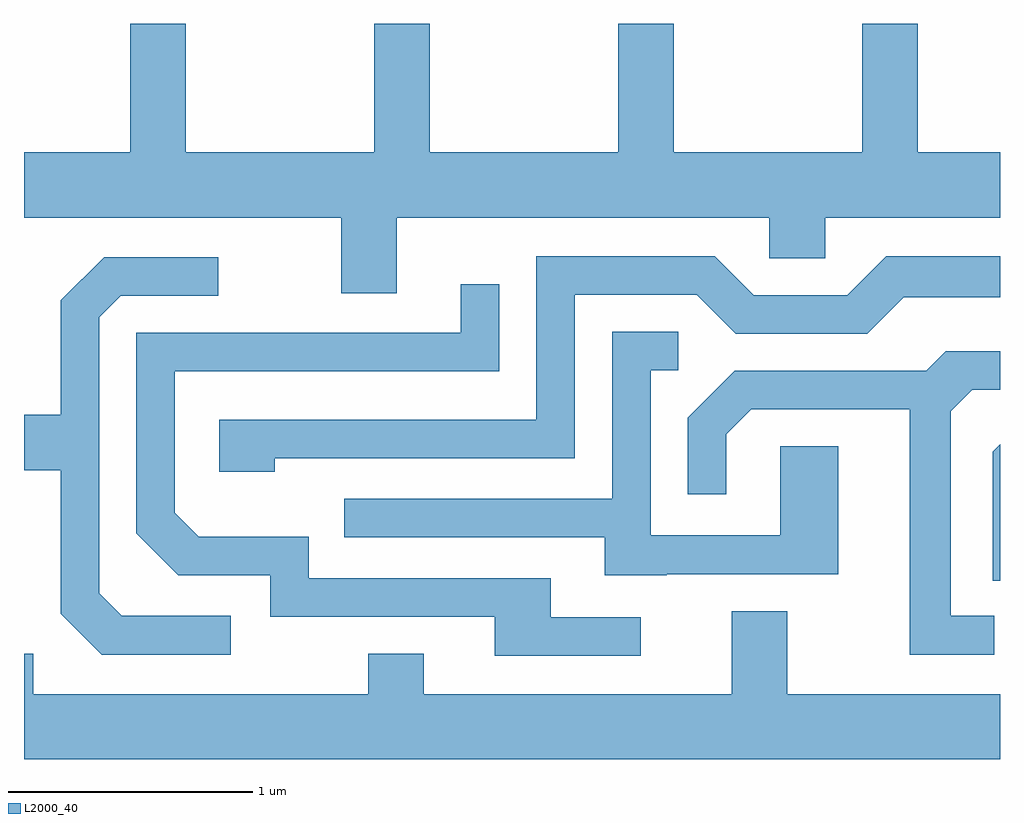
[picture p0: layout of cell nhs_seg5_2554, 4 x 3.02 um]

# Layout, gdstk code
import gdstk
lib = gdstk.Library(unit=1e-6, precision=1e-09)
def P(c, l, *ps):  # polygons
    for p in ps: c.add(gdstk.Polygon(p, *l))
L2000_40 = (2000, 40)

nhs_seg5_2554 = lib.new_cell('nhs_seg5_2554')
P(nhs_seg5_2554, L2000_40, [(263.139,1421.276),(264.666,1421.276),(264.666,1421.111),(264.894,1421.111),(264.894,1421.276),(265.611,1421.276),(265.611,1421.544),(265.274,1421.544),(265.274,1422.072),(265.046,1422.072),(265.046,1421.544),(264.274,1421.544),(264.274,1422.072),(264.046,1422.072),(264.046,1421.544),(263.274,1421.544),(263.274,1422.072),(263.046,1422.072),(263.046,1421.544),(262.274,1421.544),(262.274,1422.072),(262.046,1422.072),(262.046,1421.544),(261.611,1421.544),(261.611,1421.276),(262.911,1421.276),(262.911,1420.966),(263.139,1420.966)],
  [(262.639,1420.291),(263.869,1420.291),(263.869,1420.961),(264.369,1420.961),(264.529,1420.801),(265.067,1420.801),(265.217,1420.951),(265.611,1420.951),(265.611,1421.119),(265.144,1421.119),(264.984,1420.959),(264.602,1420.959),(264.442,1421.119),(263.711,1421.119),(263.711,1420.449),(262.411,1420.449),(262.411,1420.236),(262.639,1420.236)],
  [(262.458,1419.644),(262.012,1419.644),(261.919,1419.737),(261.919,1420.869),(262.007,1420.956),(262.408,1420.956),(262.408,1421.114),(261.939,1421.114),(261.761,1420.937),(261.761,1420.469),(261.611,1420.469),(261.611,1420.241),(261.761,1420.241),(261.761,1419.654),(261.929,1419.486),(262.458,1419.486)],
  [(264.138,1419.639),(263.769,1419.639),(263.769,1419.799),(262.779,1419.799),(262.779,1419.969),(262.327,1419.969),(262.229,1420.067),(262.229,1420.646),(263.559,1420.646),(263.559,1421.003),(263.401,1421.003),(263.401,1420.804),(262.071,1420.804),(262.071,1419.984),(262.244,1419.811),(262.621,1419.811),(262.621,1419.641),(263.541,1419.641),(263.541,1419.481),(264.138,1419.481)],
  [(264.245,1419.816),(264.949,1419.816),(264.949,1420.339),(264.711,1420.339),(264.711,1419.974),(264.179,1419.974),(264.179,1420.651),(264.293,1420.651),(264.293,1420.809),(264.021,1420.809),(264.021,1420.124),(262.923,1420.124),(262.923,1419.966),(263.991,1419.966),(263.991,1419.811),(264.245,1419.811)],
  [(265.588,1419.644),(265.409,1419.644),(265.409,1420.484),(265.497,1420.571),(265.611,1420.571),(265.611,1420.729),(265.389,1420.729),(265.309,1420.649),(264.524,1420.649),(264.331,1420.457),(264.331,1420.143),(264.489,1420.143),(264.489,1420.389),(264.592,1420.491),(265.241,1420.491),(265.241,1419.486),(265.588,1419.486)],
  [(265.611,1420.347),(265.581,1420.317),(265.581,1419.788),(265.611,1419.788)],
  [(265.611,1419.324),(264.739,1419.324),(264.739,1419.664),(264.511,1419.664),(264.511,1419.324),(263.249,1419.324),(263.249,1419.489),(263.021,1419.489),(263.021,1419.324),(261.649,1419.324),(261.649,1419.489),(261.611,1419.489),(261.611,1419.056),(265.611,1419.056)])

lib.write_gds('nhs_seg5_2554.gds')
